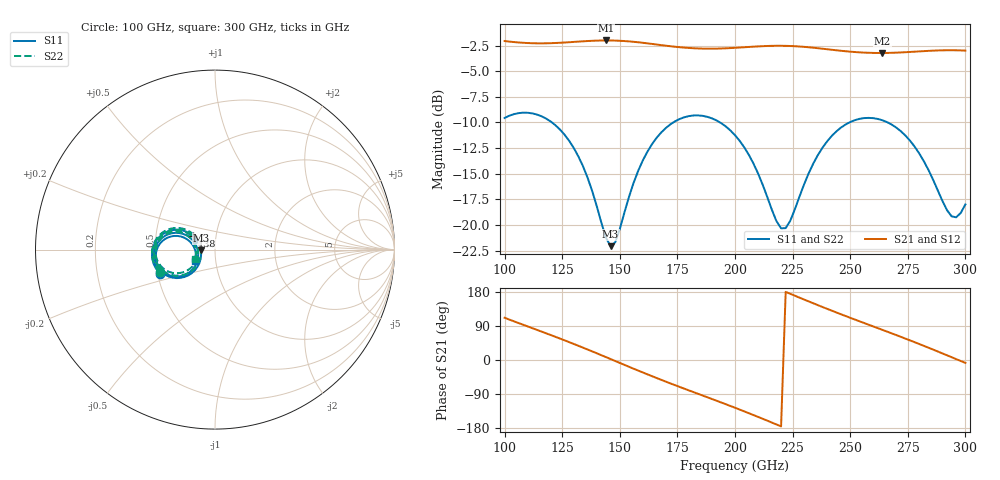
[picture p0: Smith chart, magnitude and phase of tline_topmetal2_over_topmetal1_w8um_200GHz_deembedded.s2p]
! Created with skrf 2.0.1 (http://scikit-rf.org).
# GHz S DB R 50.0
!freq dBS11 angS11 dBS21 angS21 dBS12 angS12 dBS22 angS22
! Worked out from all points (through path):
!   101 points, 100 GHz to 300 GHz, reference 50 ohm
!   highest |S21| = -2.01 dB at 144 GHz (marker M1); lowest = -3.2 dB at 264 GHz (marker M2)
!   group delay of S21, straight-line fit = 6.67 ps
!   lowest |S11| = -22.1 dB at 146 GHz (marker M3), VSWR 1.17, Z = 42.7 - j0.387 ohm
!   |S11| at or under -10 dB: 120.5 GHz to 173.2 GHz (52.68 GHz wide, 35.9 % of centre); 193.5 GHz to 249.7 GHz (56.15 GHz wide, 25.3 % of centre); 266.3 GHz to end of sweep
!   |S22| runs from -22.1 to -9.1 dB; largest |S21 - S12| = 8.3e-14
!   S11 on the Smith chart (normalised r, x): 100 GHz: 0.52, -0.16; 138 GHz: 0.77, +0.12; 300 GHz: 0.80, -0.10
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100  -9.56 -155.9  -2.06 111.4  -2.06 111.4  -9.58 -158.1
108  -9.05 -170.8  -2.23 93.1  -2.23 93.1  -9.06 -173.2
118  -9.62 171.1  -2.28 70.5  -2.28 70.5  -9.64 168.6
134  -14.26 148.3  -2.09 32.7  -2.09 32.7  -14.28 145.3
138  -16.67 148.0  -2.04 22.8  -2.04 22.8  -16.70 144.9
144  -21.25 167.4  -2.01 7.6  -2.01 7.6  -21.30 164.2
146  -22.06 -176.7  -2.01 2.5  -2.01 2.5  -22.11 -179.9
148  -21.68 -159.7  -2.02 -2.6  -2.02 -2.6  -21.73 -162.9
156  -15.88 -134.2  -2.14 -23.0  -2.14 -23.0  -15.91 -137.5
168  -10.97 -146.4  -2.46 -52.4  -2.46 -52.4  -11.00 -150.0
184  -9.31 -173.0  -2.79 -89.3  -2.79 -89.3  -9.34 -177.0
200  -11.24 161.8  -2.72 -126.0  -2.72 -126.0  -11.28 157.4
210  -14.97 153.5  -2.59 -150.1  -2.59 -150.1  -15.03 148.6
220  -20.32 -178.4  -2.53 -175.2  -2.53 -175.2  -20.50 176.8
224  -19.58 -154.3  -2.55 174.7  -2.55 174.7  -19.74 -158.6
234  -14.00 -138.7  -2.71 149.6  -2.71 149.6  -14.06 -143.2
248  -10.20 -155.2  -3.06 116.1  -3.06 116.1  -10.24 -160.3
264  -9.79 179.9  -3.23 79.5  -3.23 79.5  -9.83 174.3
268  -10.20 174.0  -3.21 70.3  -3.21 70.3  -10.25 168.3
280  -13.03 160.0  -3.07 42.1  -3.07 42.1  -13.10 153.8
294  -19.14 -177.6  -2.96 7.4  -2.96 7.4  -19.36 176.1
300  -17.99 -149.9  -3.00 -7.7  -3.00 -7.7  -18.16 -155.5
